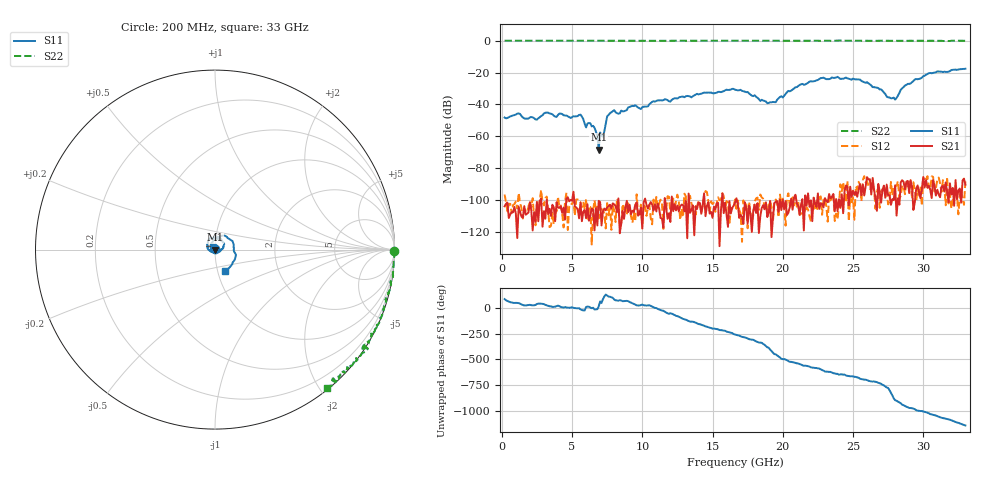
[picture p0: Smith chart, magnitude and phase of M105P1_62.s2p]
# GHZ S RI R 50
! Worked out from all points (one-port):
!   329 points, 200 MHz to 33 GHz, reference 50 ohm
!   lowest |S11| = -68.3 dB at 6.9 GHz (marker M1), VSWR 1.00, Z = 50 + j0.00999 ohm
!   |S11| at or under -10 dB: start of sweep to end of sweep
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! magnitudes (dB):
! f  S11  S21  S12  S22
! 200 MHz  -48.2  -103.9  -96.5  0.0
! 3.2 GHz  -45.1  -99.9  -97.8  0.0
! 5.7 GHz  -47.6  -113.2  -104.4  0.0
! 6 GHz  -54.4  -111.4  -99.3  0.0
! 6.2 GHz  -51.6  -112.9  -103.9  0.0
! 6.6 GHz  -54.6  -119.0  -100.1  0.0
! 6.8 GHz  -59.5  -115.9  -104.2  0.0
! 6.9 GHz  -68.3  -100.5  -111.5  0.0
! 7 GHz  -57.6  -101.2  -102.6  0.0
! 7.2 GHz  -60.2  -107.1  -105.9  0.0
! 7.5 GHz  -47.4  -104.6  -100.9  -0.1
! 7.7 GHz  -45.5  -103.0  -102.9  -0.1
! 11.2 GHz  -37.5  -105.3  -102.0  0.0
! 16.6 GHz  -30.7  -101.8  -99.7  0.0
! 18.9 GHz  -39.3  -110.7  -106.7  0.0
! 22.1 GHz  -25.6  -113.2  -106.2  0.0
! 25.5 GHz  -24.4  -89.9  -90.5  0.0
! 27.6 GHz  -35.6  -97.1  -100.6  0.0
! 28 GHz  -37.0  -90.7  -91.7  -0.1
! 28.7 GHz  -28.2  -93.2  -96.3  -0.1
! 30.4 GHz  -20.4  -91.1  -91.5  -0.1
! 33 GHz  -17.6  -90.3  -88.3  -0.1
